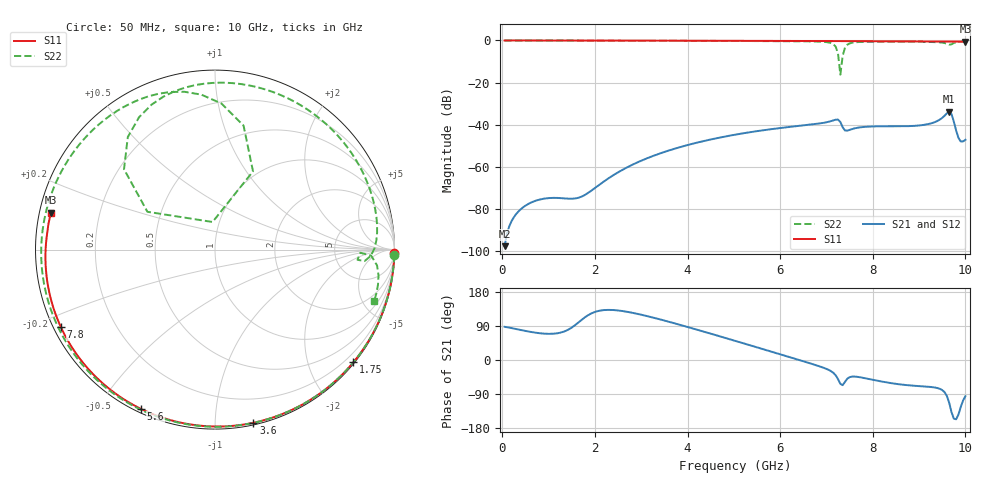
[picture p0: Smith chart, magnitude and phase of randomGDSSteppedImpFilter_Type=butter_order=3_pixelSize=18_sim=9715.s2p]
! freq	dB(S11)	phase(S11)	dB(S12)	phase(S12)
!  dB(S21)	phase(S21)	dB(S22)	phase(S22)
!S-par simulation data
#  GHz  S  DB  R 50
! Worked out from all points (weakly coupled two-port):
!   200 points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, 50 MHz to 10 GHz, reference 50 ohm
!   highest |S21| = -33.82 dB at 9.65 GHz (marker M1); lowest = -97.6 dB at 50 MHz (marker M2)
!   lowest |S11| = -0.6 dB at 10 GHz (marker M3), VSWR 30.27, Z = 1.67 + j5.57 ohm
!   |S11| at or under -10 dB: nowhere
!   |S22| runs from -16.2 to 0.0 dB; largest |S21 - S12| = 0
!   S11 on the Smith chart (normalised r, x): 50 MHz: open; 1.75 GHz: 0.03, -2.81; 3.6 GHz: 0.02, -1.25; 5.6 GHz: 0.02, -0.64; 7.8 GHz: 0.02, -0.24; 10 GHz: 0.03, +0.11
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0.05  -0.00 -1.2  -97.61 87.6  -97.61 87.6  -0.00 -1.8
0.85  -0.02 -19.2  -75.28 70.1  -75.28 70.1  -0.04 -30.0
1.75  -0.05 -39.1  -73.70 109.5  -73.70 109.5  -0.08 -60.7
2.55  -0.07 -56.2  -61.94 130.0  -61.94 130.0  -0.11 -87.1
3.4  -0.10 -73.5  -53.65 107.4  -53.65 107.4  -0.15 -114.5
3.6  -0.10 -77.5  -52.19 100.8  -52.19 100.8  -0.16 -120.9
5.05  -0.16 -105.0  -44.62 49.8  -44.62 49.8  -0.25 -168.3
5.6  -0.19 -115.0  -42.71 29.7  -42.71 29.7  -0.30 172.2
6.7  -0.26 -134.3  -39.81 -10.8  -39.81 -10.8  -0.48 125.5
7.05  -0.28 -140.4  -38.57 -26.3  -38.57 -26.3  -0.96 101.0
7.2  -0.29 -143.0  -37.59 -40.5  -37.59 -40.5  -2.99 77.0
7.25  -0.30 -143.8  -37.55 -50.6  -37.55 -50.6  -6.30 64.1
7.3  -0.30 -144.7  -38.68 -63.0  -38.68 -63.0  -16.23 95.0
7.35  -0.31 -145.6  -41.15 -66.4  -41.15 -66.4  -7.30 150.8
7.4  -0.31 -146.4  -42.71 -57.6  -42.71 -57.6  -3.40 138.6
7.55  -0.32 -149.0  -42.05 -43.8  -42.05 -43.8  -1.10 113.7
7.8  -0.34 -153.3  -41.06 -47.2  -41.06 -47.2  -0.66 93.4
8.35  -0.40 -162.9  -40.72 -60.2  -40.72 -60.2  -0.58 61.7
9.1  -0.48 -176.2  -40.08 -69.7  -40.08 -69.7  -0.67 21.9
9.65  -0.54 173.9  -33.82 -112.9  -33.82 -112.9  -1.98 -4.1
9.85  -0.55 170.1  -46.24 -144.0  -46.24 -144.0  -0.70 -9.0
10  -0.57 167.3  -47.14 -95.5  -47.14 -95.5  -0.61 -17.8
